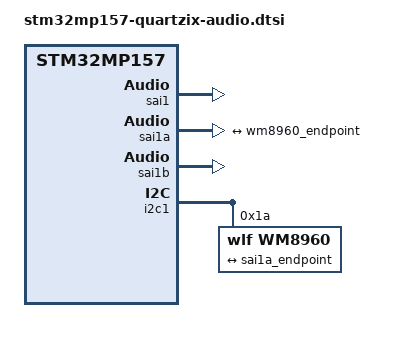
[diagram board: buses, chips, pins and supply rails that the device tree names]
// SPDX-License-Identifier: (GPL-2.0+ OR BSD-3-Clause)
/*
 * WM8960 audio codec - CA7 playback via SAI1_A (audio-graph-card)
 *
 * Hardware connections:
 *   SAI1_A: PB2=SD_A(DACDAT) - data to WM8960 DAC input
 *   SAI1_B: PF7=MCLK_B, PF8=SCK_B(BCLK), PF9=FS_B(LRCLK) - clocks
 *           PF6=SD_B(ADCDAT) - data from WM8960 ADC output (not used by CA7)
 *   I2C1:   PF14=SCL, PF15=SDA  -> WM8960 control
 *
 * CA7 owns: SAI1_A (TX slave, playback via st,sync from SAI1_B) + I2C1 (codec config)
 * SAI1_B:   MCLK provider (12.288MHz) + clock master (BCLK/LRCLK generated by WM8960)
 * M4 uses:  SAI1_A (TX slave) + SAI1_B (RX master) - handled separately by M4 firmware
 */

/* audio-graph-card machine driver */
/ {
	sound_wm8960: sound {
		compatible = "audio-graph-card";
		label = "WM8960-quartzix";
		dais = <&sai1a_port>;
		widgets =
			"Headphone", "Headphone Jack",
			"Microphone", "Microphone Jack",
			"Speaker", "Left Speaker",
			"Speaker", "Right Speaker";
		routing =
			"Headphone Jack", "HP_L",
			"Headphone Jack", "HP_R",
			"LINPUT1", "Microphone Jack",
			"RINPUT1", "Microphone Jack",
			"Left Speaker", "SPK_LP",
			"Left Speaker", "SPK_LN",
			"Right Speaker", "SPK_RP",
			"Right Speaker", "SPK_RN";
	};
};

/* SAI1 parent: clocks + pinctrl + reset */
&sai1 {
	pinctrl-names = "default", "sleep";
	pinctrl-0 = <&sai1a_pins_a &sai1b_pins_a>;
	pinctrl-1 = <&sai1a_sleep_pins_a &sai1b_sleep_pins_a>;
	clocks = <&rcc SAI1>, <&rcc PLL3_Q>, <&rcc PLL3_R>;
	clock-names = "pclk", "x8k", "x11k";
	status = "okay";
};

/* SAI1_A: TX slave, borrows SAI1_B clocks via st,sync
 * Data pin: PB2 (SAI1_SD_A) -> WM8960 DACDAT
 * WM8960 is I2S master: generates BCLK/LRCLK from its MCLK input
 */
&sai1a {
	clocks = <&rcc SAI1_K>, <&sai1b>;
	clock-names = "sai_ck", "MCLK";
	dma-names = "tx";
	st,sync = <&sai1b 1>;
	status = "okay";

	sai1a_port: port {
		sai1a_endpoint: endpoint {
			remote-endpoint = <&wm8960_endpoint>;
			format = "i2s";
			mclk-fs = <256>;
			dai-tdm-slot-num = <2>;
			dai-tdm-slot-width = <16>;
		};
	};
};

/* SAI1_B: MCLK provider for WM8960 (12.288MHz)
 * Also provides BCLK/FS to SAI1_A via st,sync
 * dmas inherited from stm32mp151.dtsi but not used by CA7
 * #clock-cells = <0>: registers SAI1B as clock provider
 */
&sai1b {
	dma-names = "rx";
	#clock-cells = <0>;
	/* Force enable MCLK at boot (wm8960 driver doesn't enable it automatically) */
	assigned-clocks = <&sai1b>;
	assigned-clock-rates = <12288000>;
	status = "okay";
};

/* WM8960 on I2C1 */
&i2c1 {
	status = "okay";
	pinctrl-names = "default", "sleep";
	pinctrl-0 = <&i2c1_pins_a>;
	pinctrl-1 = <&i2c1_sleep_pins_a>;
	i2c-scl-rising-time-ns = <185>;
	i2c-scl-falling-time-ns = <20>;

	wm8960: wm8960@1a {
		compatible = "wlf,wm8960";
		reg = <0x1a>;
		#sound-dai-cells = <0>;
		clocks = <&sai1b>;
		clock-names = "mclk";
		wlf,shared-lrclk;
		status = "okay";

		port {
			wm8960_endpoint: endpoint {
				remote-endpoint = <&sai1a_endpoint>;
				/* WM8960 is master: generates BCLK and LRCLK */
				frame-master;
				bitclock-master;
			};
		};
	};
};
